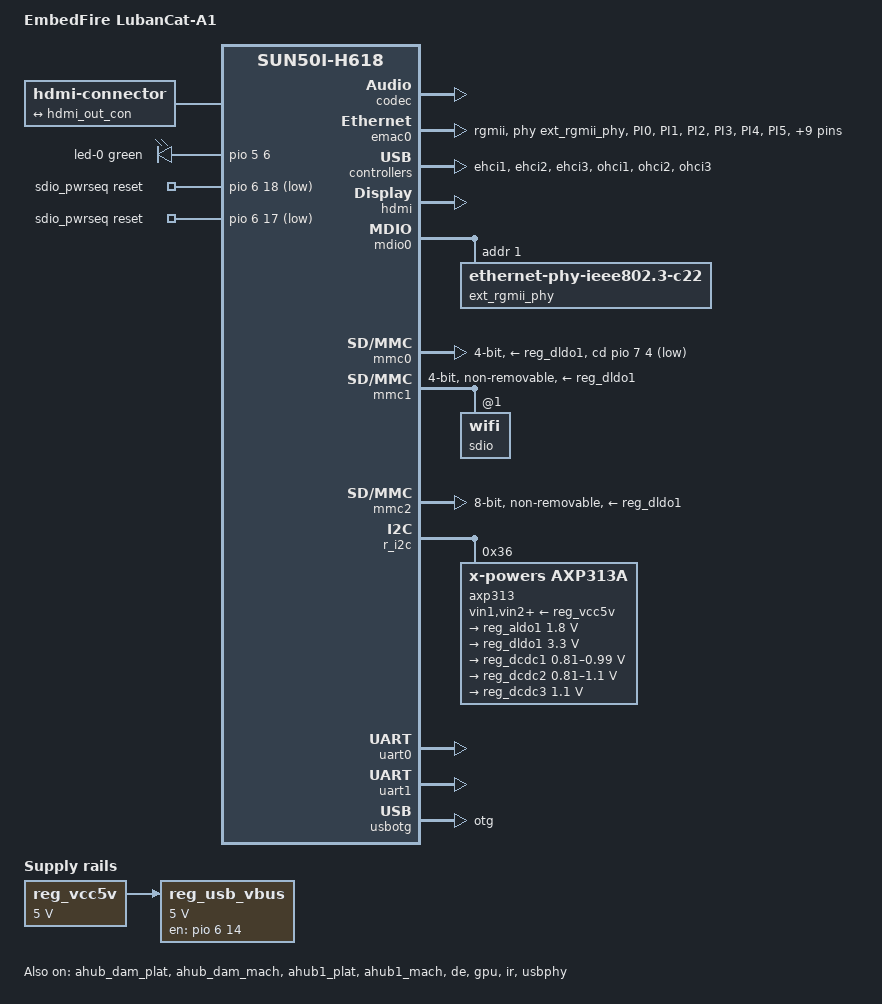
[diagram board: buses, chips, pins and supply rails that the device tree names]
// SPDX-License-Identifier: (GPL-2.0+ OR MIT)
/*
 * EmbedFire LubanCat-A1 (Allwinner H618)
 *
 * Port: AXP1530(=AXP313a) PMIC on r_i2c; LPDDR4; AIC8800 SDIO WiFi + UART BT;
 * GPIO LED on PF6; SD on mmc0 (CD PH4); eMMC on mmc2; ext RGMII GbE on emac0.
 */

/dts-v1/;

#include "sun50i-h616.dtsi"
#include "sun50i-h616-cpu-opp.dtsi"
#include "sun50i-h616-gpu-opp.dtsi"

#include <dt-bindings/gpio/gpio.h>
#include <dt-bindings/interrupt-controller/arm-gic.h>
#include <dt-bindings/leds/common.h>

/ {
	model = "EmbedFire LubanCat-A1";
	compatible = "embedfire,lubancat-a1", "allwinner,sun50i-h618";

	aliases {
		ethernet0 = &emac0;
		serial0 = &uart0;
		serial1 = &uart1;
	};

	chosen {
		stdout-path = "serial0:115200n8";
	};

	connector {
		compatible = "hdmi-connector";
		type = "d";

		port {
			hdmi_con_in: endpoint {
				remote-endpoint = <&hdmi_out_con>;
			};
		};
	};

	leds {
		compatible = "gpio-leds";

		led-0 {
			color = <LED_COLOR_ID_GREEN>;
			function = LED_FUNCTION_STATUS;
			gpios = <&pio 5 6 GPIO_ACTIVE_HIGH>; /* PF6 */
			linux,default-trigger = "heartbeat";
		};
	};

	reg_vcc5v: regulator-vcc5v {
		/* board-wide 5V supply */
		compatible = "regulator-fixed";
		regulator-always-on;
		regulator-min-microvolt = <5000000>;
		regulator-max-microvolt = <5000000>;
		regulator-name = "vcc-5v";
	};

	reg_usb_vbus: regulator-usb-vbus {
		/* PG14 enables the shared 5V rail for all USB ports */
		compatible = "regulator-fixed";
		regulator-name = "usb-vbus";
		regulator-min-microvolt = <5000000>;
		regulator-max-microvolt = <5000000>;
		vin-supply = <&reg_vcc5v>;
		gpio = <&pio 6 14 GPIO_ACTIVE_HIGH>; /* PG14 */
		enable-active-high;
	};

	sdio_pwrseq: sdio-pwrseq {
		compatible = "mmc-pwrseq-simple";
		clocks = <&rtc CLK_OSC32K_FANOUT>;
		clock-names = "ext_clock";
		pinctrl-0 = <&x32clk_fanout_pin>;
		pinctrl-names = "default";
		post-power-on-delay-ms = <200>;
		power-off-delay-us = <5000000>;
		reset-gpios = <&pio 6 18 GPIO_ACTIVE_LOW>, /* PG18 WiFi EN */
			      <&pio 6 17 GPIO_ACTIVE_LOW>; /* PG17 BT EN */
	};
};

&ahub_dam_plat {
	status = "okay";
};

/* AHUB hardware-mix card; required for HDMI audio routing/clocking. */
&ahub_dam_mach {
	status = "okay";
};

&ahub1_plat {
	status = "okay";
};

&ahub1_mach {
	status = "okay";
};

&codec {
	status = "okay";
	allwinner,audio-routing = "Line Out", "LINEOUT";
};

&cpu0 {
	cpu-supply = <&reg_dcdc2>;
};

&de {
	status = "okay";
};

&emac0 {
	status = "okay";
	pinctrl-0 = <&ext_rgmii_pins>;
	pinctrl-names = "default";
	phy-mode = "rgmii";
	phy-handle = <&ext_rgmii_phy>;
	allwinner,tx-delay-ps = <700>;
	allwinner,rx-delay-ps = <2000>;
};

&ehci1 {
	status = "okay";
};

&ehci2 {
	status = "okay";
};

&ehci3 {
	status = "okay";
};

&gpu {
	status = "okay";
	mali-supply = <&reg_dcdc1>;
};

&hdmi {
	status = "okay";
};

&hdmi_out {
	hdmi_out_con: endpoint {
		remote-endpoint = <&hdmi_con_in>;
	};
};

&ir {
	status = "okay";
	pinctrl-0 = <&ir_rx_pin>;
	pinctrl-names = "default";
};

&mdio0 {
	ext_rgmii_phy: ethernet-phy@1 {
		compatible = "ethernet-phy-ieee802.3-c22";
		reg = <1>;
	};
};

/* SD card */
&mmc0 {
	status = "okay";
	bus-width = <4>;
	cd-gpios = <&pio 7 4 (GPIO_ACTIVE_LOW | GPIO_PULL_UP)>; /* PH4 */
	disable-wp;
	max-frequency = <50000000>;
	vmmc-supply = <&reg_dldo1>;
};

/* SDIO WiFi (AIC8800) */
&mmc1 {
	status = "okay";
	bus-width = <4>;
	keep-power-in-suspend;
	max-frequency = <100000000>;
	mmc-pwrseq = <&sdio_pwrseq>;
	no-mmc;
	no-sd;
	non-removable;
	vmmc-supply = <&reg_dldo1>;
	vqmmc-supply = <&reg_aldo1>;

	sdio: wifi@1 {
		reg = <1>;
	};
};

/* eMMC */
&mmc2 {
	status = "okay";
	bus-width = <8>;
	cap-mmc-hw-reset;
	mmc-hs200-1_8v;
	non-removable;
	vmmc-supply = <&reg_dldo1>;
	vqmmc-supply = <&reg_aldo1>;
};

&ohci1 {
	status = "okay";
};

&ohci2 {
	status = "okay";
};

&ohci3 {
	status = "okay";
};

&pio {
	vcc-pc-supply = <&reg_dldo1>;
	vcc-pf-supply = <&reg_dldo1>;
	vcc-pg-supply = <&reg_aldo1>;
	vcc-ph-supply = <&reg_dldo1>;
	vcc-pi-supply = <&reg_dldo1>;
	vcc-pl-supply = <&reg_aldo1>;

	ext_rgmii_pins: rgmii-pins {
		pins = "PI0", "PI1", "PI2", "PI3", "PI4",
		       "PI5", "PI7", "PI8", "PI9", "PI10",
		       "PI11", "PI12", "PI13", "PI14", "PI15";
		function = "emac0";
		drive-strength = <40>;
	};
};

&r_i2c {
	status = "okay";

	axp313: pmic@36 {
		compatible = "x-powers,axp313a";
		reg = <0x36>;
		wakeup-source;
		#interrupt-cells = <1>;
		interrupt-controller;
		interrupt-parent = <&pio>;

		vin1-supply = <&reg_vcc5v>;
		vin2-supply = <&reg_vcc5v>;
		vin3-supply = <&reg_vcc5v>;

		regulators {
			reg_aldo1: aldo1 {
				regulator-always-on;
				regulator-min-microvolt = <1800000>;
				regulator-max-microvolt = <1800000>;
				regulator-name = "vcc-1v8-pll";
			};

			reg_dldo1: dldo1 {
				regulator-always-on;
				regulator-min-microvolt = <3300000>;
				regulator-max-microvolt = <3300000>;
				regulator-name = "vcc-3v3-io";
			};

			reg_dcdc1: dcdc1 {
				regulator-always-on;
				regulator-min-microvolt = <810000>;
				regulator-max-microvolt = <990000>;
				regulator-name = "vdd-gpu-sys";
			};

			reg_dcdc2: dcdc2 {
				regulator-always-on;
				regulator-min-microvolt = <810000>;
				regulator-max-microvolt = <1100000>;
				regulator-ramp-delay = <200>;
				regulator-name = "vdd-cpu";
			};

			reg_dcdc3: dcdc3 {
				regulator-always-on;
				regulator-min-microvolt = <1100000>;
				regulator-max-microvolt = <1100000>;
				regulator-name = "vdd-dram";
			};
		};
	};
};

&spi1 {
	status = "disabled";
};

&uart0 {
	status = "okay";
	pinctrl-0 = <&uart0_ph_pins>;
	pinctrl-names = "default";
};

/* Bluetooth (AIC8800 HCI UART) */
&uart1 {
	status = "okay";
	pinctrl-0 = <&uart1_pins>, <&uart1_rts_cts_pins>;
	pinctrl-names = "default";
	uart-has-rtscts;
};

&usbotg {
	status = "okay";
	dr_mode = "otg";
};

&usbphy {
	status = "okay";
	usb0_vbus-supply = <&reg_usb_vbus>;
	usb1_vbus-supply = <&reg_usb_vbus>;
	usb2_vbus-supply = <&reg_usb_vbus>;
	usb3_vbus-supply = <&reg_usb_vbus>;
};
